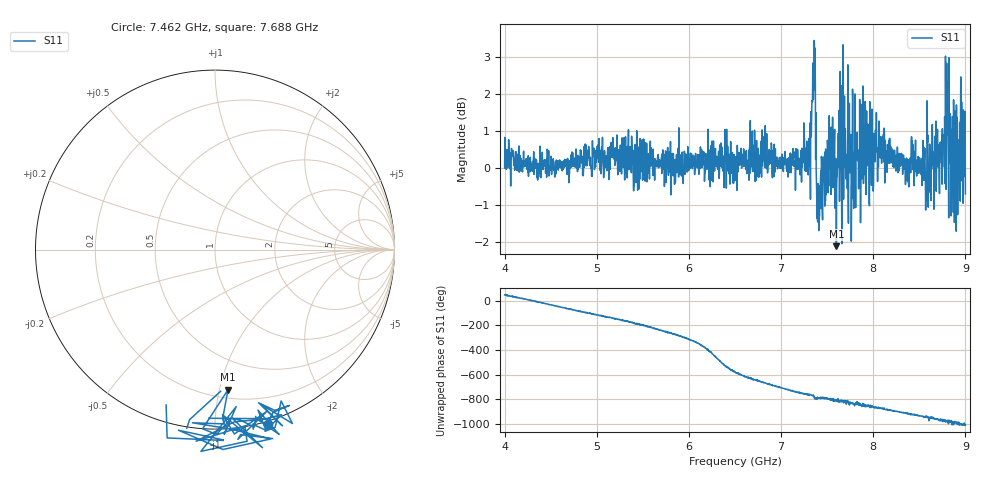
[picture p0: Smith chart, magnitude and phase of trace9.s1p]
! Created with skrf 1.8.0 (http://scikit-rf.org).
# Hz S RI R 50.0
!freq ReS11 ImS11
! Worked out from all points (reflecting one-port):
!   1601 points, 4 GHz to 9 GHz, reference 50 ohm
!   lowest |S11| = -2.1 dB at 7.6 GHz (marker M1), VSWR 8.26, Z = 13.1 - j53.1 ohm
!   phase of S11 starts at 48 deg and turns -1052 deg over the sweep
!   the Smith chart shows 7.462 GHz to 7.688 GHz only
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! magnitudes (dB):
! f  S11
! 4 GHz  0.0
! 4.625 GHz  -0.1
! 5.25 GHz  -0.1
! 5.875 GHz  0.2
! 6.416 GHz  -0.1
! 6.5 GHz  -0.3
! 6.806 GHz  0.2
! 7.125 GHz  0.3
! 7.294 GHz  -0.2
! 7.347 GHz  2.3
! 7.359 GHz  3.4
! 7.397 GHz  -1.5
! 7.409 GHz  -1.7
! 7.509 GHz  -0.7
! 7.6 GHz  -2.1
! 7.662 GHz  1.5
! 7.706 GHz  0.2
! 7.75 GHz  0.5
! 7.788 GHz  -1.1
! 7.828 GHz  0.3
! 8.097 GHz  0.3
! 8.375 GHz  0.0
! 8.434 GHz  -0.1
! 8.594 GHz  0.1
! 8.809 GHz  2.3
! 8.856 GHz  -0.6
! 8.972 GHz  0.2
! 9 GHz  -0.7
